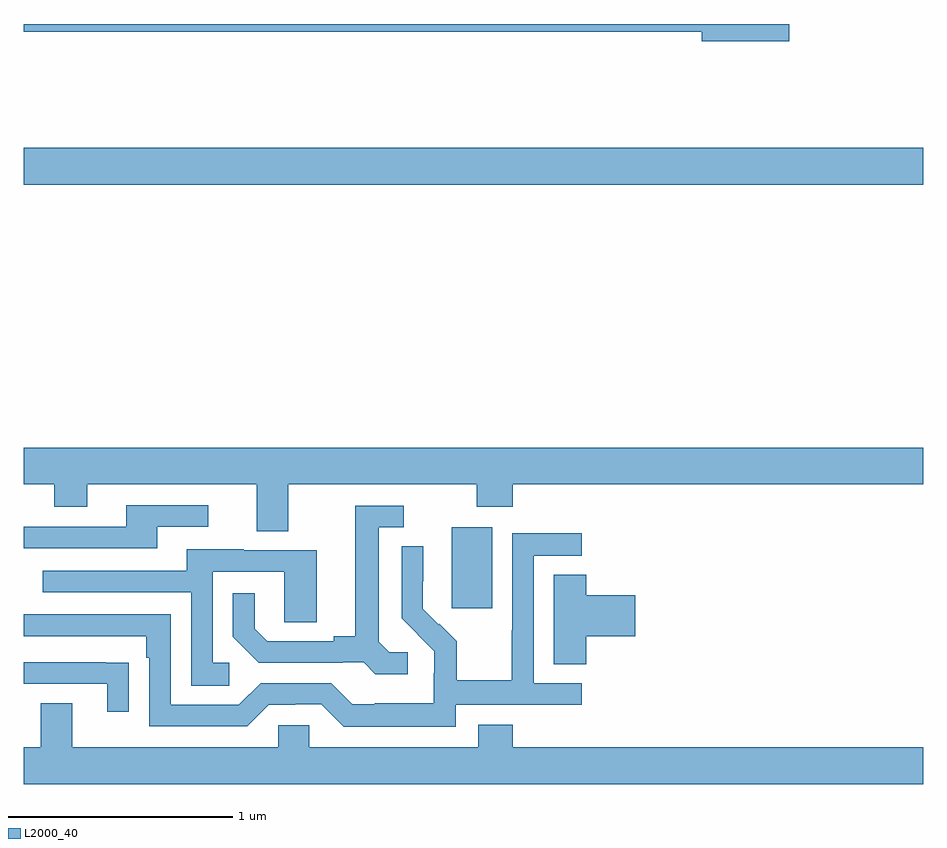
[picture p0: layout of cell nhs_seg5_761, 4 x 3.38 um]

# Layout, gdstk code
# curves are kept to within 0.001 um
import gdstk
lib = gdstk.Library(unit=1e-6, precision=1e-09)
def R(c, l, rs):  # rectangles x0, y0, x1, y1
    for r in rs: c.add(gdstk.rectangle(r[:2], r[2:], *l))
def P(c, l, *ps):  # polygons
    for p in ps: c.add(gdstk.Polygon(p, *l))
L2000_40 = (2000, 40)

nhs_seg5_761 = lib.new_cell('nhs_seg5_761')
R(nhs_seg5_761, L2000_40, [(160.904,864.201,161.083,864.562), (159,866.084,163,866.248)])
P(nhs_seg5_761, L2000_40, [(162.403,866.799),(159,866.799),(159,866.764),(162.014,866.764),(162.014,866.722),(162.403,866.722)],
  [(160.177,864.752),(161.014,864.752),(161.014,864.653),(161.174,864.653),(161.174,864.752),(163,864.752),(163,864.916),(159,864.916),(159,864.752),(159.136,864.752),(159.136,864.653),(159.283,864.653),(159.283,864.752),(160.037,864.752),(160.037,864.544),(160.177,864.544)],
  [(159.595,864.564),(159.82,864.564),(159.82,864.66),(159.455,864.66),(159.455,864.564),(159,864.564),(159,864.468),(159.595,864.468)],
  [(160.708,864.006),(160.626,864.006),(160.579,864.053),(160.579,864.561),(160.69,864.561),(160.69,864.657),(160.475,864.657),(160.475,864.077),(160.379,864.077),(160.379,864.054),(160.084,864.054),(160.027,864.111),(160.027,864.268),(159.93,864.268),(159.93,864.074),(160.046,863.958),(160.418,863.958),(160.418,863.961),(160.512,863.961),(160.564,863.909),(160.708,863.909)],
  [(160.92,863.772),(161.482,863.772),(161.482,863.868),(161.268,863.868),(161.268,864.435),(161.482,864.435),(161.482,864.534),(161.172,864.534),(161.172,864.104),(161.17,864.104),(161.17,863.881),(160.925,863.881),(160.925,864.055),(160.848,864.132),(160.845,864.129),(160.775,864.2),(160.776,864.476),(160.68,864.476),(160.68,864.158),(160.826,864.01),(160.826,863.913),(160.824,863.913),(160.824,863.779),(160.561,863.779),(160.561,863.775),(160.461,863.775),(160.368,863.868),(160.053,863.868),(159.957,863.772),(159.654,863.772),(159.654,864.174),(159,864.174),(159,864.078),(159.545,864.078),(159.545,863.981),(159.558,863.981),(159.558,863.676),(159.993,863.676),(160.089,863.772),(160.208,863.772),(160.208,863.775),(160.323,863.775),(160.423,863.675),(160.92,863.675)],
  [(159.913,863.958),(159.84,863.958),(159.84,864.363),(160.158,864.363),(160.158,864.139),(160.303,864.139),(160.303,864.459),(159.979,864.459),(159.979,864.463),(159.725,864.463),(159.725,864.369),(159.085,864.369),(159.085,864.273),(159.744,864.273),(159.744,863.857),(159.913,863.857)],
  [(161.501,864.077),(161.719,864.077),(161.719,864.26),(161.501,864.26),(161.501,864.35),(161.357,864.35),(161.357,863.953),(161.501,863.953)],
  [(159.467,863.96),(159.365,863.96),(159.365,863.961),(159,863.961),(159,863.865),(159.371,863.865),(159.371,863.742),(159.467,863.742)],
  [(163,863.584),(161.174,863.584),(161.174,863.683),(161.021,863.683),(161.021,863.584),(160.269,863.584),(160.269,863.682),(160.131,863.682),(160.131,863.584),(159.217,863.584),(159.217,863.779),(159.077,863.779),(159.077,863.584),(159,863.584),(159,863.42),(163,863.42)])

lib.write_gds('nhs_seg5_761.gds')
